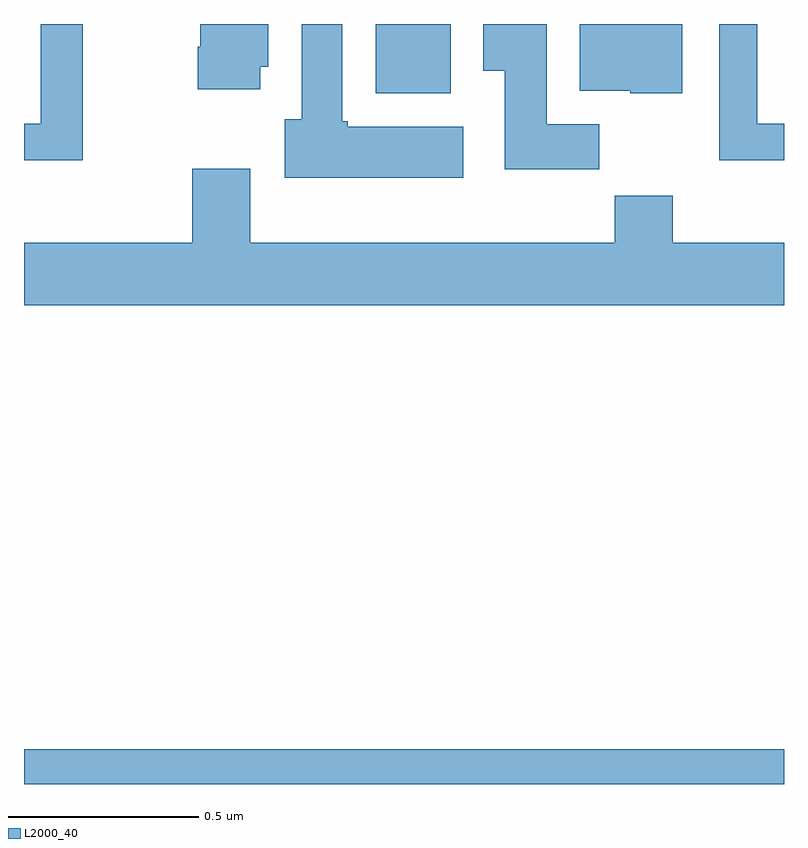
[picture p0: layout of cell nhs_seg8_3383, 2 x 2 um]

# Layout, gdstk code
import gdstk
lib = gdstk.Library(unit=1e-6, precision=1e-09)
def R(c, l, rs):  # rectangles x0, y0, x1, y1
    for r in rs: c.add(gdstk.rectangle(r[:2], r[2:], *l))
def P(c, l, *ps):  # polygons
    for p in ps: c.add(gdstk.Polygon(p, *l))
L2000_40 = (2000, 40)

nhs_seg8_3383 = lib.new_cell('nhs_seg8_3383')
R(nhs_seg8_3383, L2000_40, [(156,1121.9,158,1121.992), (156.926,1123.718,157.123,1123.9)])
P(nhs_seg8_3383, L2000_40, [(157.156,1123.63),(156.852,1123.63),(156.852,1123.644),(156.838,1123.644),(156.838,1123.9),(156.731,1123.9),(156.731,1123.65),(156.686,1123.65),(156.686,1123.496),(157.156,1123.496)],
  [(156.622,1123.788),(156.643,1123.788),(156.643,1123.9),(156.464,1123.9),(156.464,1123.84),(156.457,1123.84),(156.457,1123.728),(156.622,1123.728)],
  [(158,1123.638),(157.93,1123.638),(157.93,1123.9),(157.829,1123.9),(157.829,1123.541),(158,1123.541)],
  [(156.155,1123.9),(156.044,1123.9),(156.044,1123.638),(156,1123.638),(156,1123.541),(156.155,1123.541)],
  [(157.514,1123.636),(157.375,1123.636),(157.375,1123.9),(157.208,1123.9),(157.208,1123.777),(157.265,1123.777),(157.265,1123.518),(157.514,1123.518)],
  [(157.732,1123.9),(157.463,1123.9),(157.463,1123.724),(157.596,1123.724),(157.596,1123.718),(157.732,1123.718)],
  [(158,1123.324),(157.707,1123.324),(157.707,1123.448),(157.555,1123.448),(157.555,1123.324),(156.595,1123.324),(156.595,1123.519),(156.443,1123.519),(156.443,1123.324),(156,1123.324),(156,1123.16),(158,1123.16)])

lib.write_gds('nhs_seg8_3383.gds')
